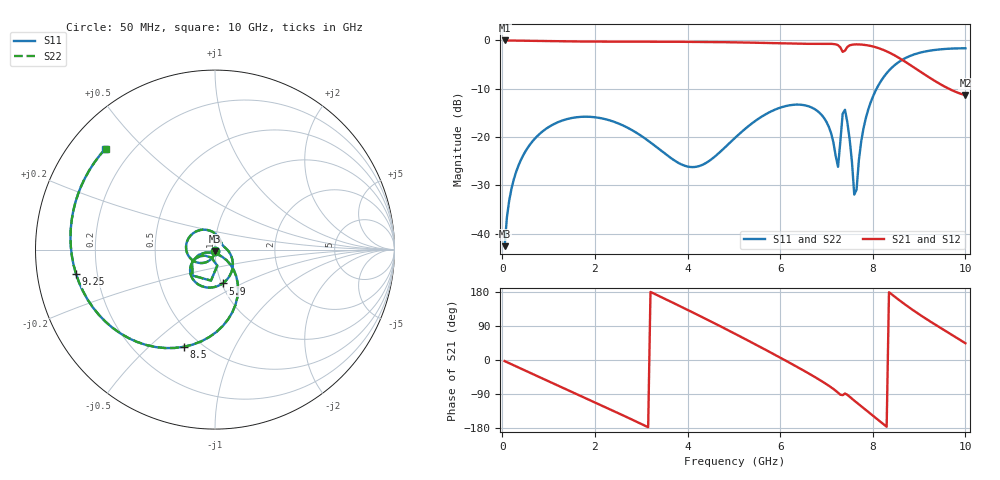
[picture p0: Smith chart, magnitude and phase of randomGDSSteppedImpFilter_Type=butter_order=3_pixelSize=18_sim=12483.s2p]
! freq	dB(S11)	phase(S11)	dB(S12)	phase(S12)
!  dB(S21)	phase(S21)	dB(S22)	phase(S22)
!S-par simulation data
#  GHz  S  DB  R 50
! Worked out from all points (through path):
!   200 points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, 50 MHz to 10 GHz, reference 50 ohm
!   highest |S21| = -0.01 dB at 50 MHz (marker M1); lowest = -11.3 dB at 10 GHz (marker M2)
!   group delay of S21, straight-line fit = 186 ps
!   lowest |S11| = -42.6 dB at 50 MHz (marker M3), VSWR 1.01, Z = 50 - j0.744 ohm
!   |S11| at or under -10 dB: start of sweep to 8.083 GHz
!   |S22| runs from -42.6 to -1.6 dB; largest |S21 - S12| = 0
!   S11 on the Smith chart (normalised r, x): 50 MHz: 1.00, -0.01; 5.9 GHz: 1.01, -0.40; 8.5 GHz: 0.41, -0.65; 9.25 GHz: 0.12, -0.09; 10 GHz: 0.11, +0.39
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0.05  -42.56 -90.6  -0.01 -2.9  -0.01 -2.9  -42.56 -90.6
0.2  -30.61 -101.0  -0.02 -11.4  -0.02 -11.4  -30.61 -101.0
0.5  -22.95 -118.6  -0.06 -28.2  -0.06 -28.2  -22.95 -118.6
1.15  -17.14 -155.3  -0.16 -64.5  -0.16 -64.5  -17.14 -155.3
1.75  -15.79 171.4  -0.23 -97.8  -0.23 -97.8  -15.79 171.3
2.65  -17.79 120.6  -0.25 -148.5  -0.25 -148.5  -17.79 120.5
3.4  -22.58 77.0  -0.26 168.0  -0.26 168.0  -22.58 76.8
4.3  -25.83 22.2  -0.32 114.1  -0.32 114.1  -25.83 22.1
5.05  -19.94 -23.5  -0.40 67.7  -0.40 67.7  -19.94 -23.5
5.9  -14.27 -77.4  -0.59 12.9  -0.59 12.9  -14.27 -77.4
6.7  -13.97 -130.7  -0.71 -41.3  -0.71 -41.3  -13.97 -130.8
7.05  -17.85 -153.8  -0.70 -67.8  -0.70 -67.8  -17.85 -153.9
7.25  -26.15 -113.8  -0.98 -86.3  -0.98 -86.3  -26.18 -114.0
7.35  -15.18 -97.4  -2.37 -92.7  -2.37 -92.7  -15.19 -97.4
7.4  -14.35 -131.1  -2.11 -88.5  -2.11 -88.5  -14.36 -131.2
7.5  -20.41 -162.2  -1.03 -96.9  -1.03 -96.9  -20.42 -162.4
7.6  -31.89 -137.4  -0.83 -107.2  -0.83 -107.2  -32.00 -137.9
7.85  -16.07 -47.8  -0.96 -131.6  -0.96 -131.6  -16.08 -47.6
8.35  -6.23 -93.7  -2.49 178.9  -2.49 178.9  -6.24 -93.7
8.5  -4.90 -107.8  -3.25 164.6  -3.25 164.6  -4.90 -107.8
9.25  -2.09 -170.0  -7.85 100.9  -7.85 100.9  -2.09 -170.1
10  -1.62 137.4  -11.34 44.2  -11.34 44.2  -1.62 137.3
